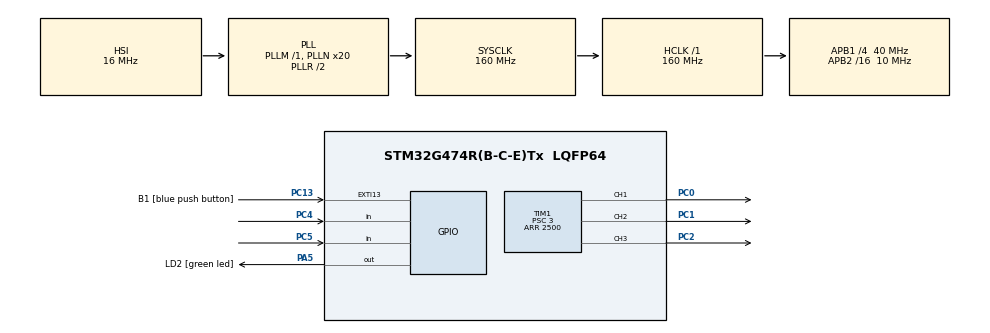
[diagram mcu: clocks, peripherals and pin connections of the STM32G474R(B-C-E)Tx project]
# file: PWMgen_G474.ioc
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Mcu.Family=STM32G4
Mcu.Name=STM32G474R(B-C-E)Tx
Mcu.Package=LQFP64
NVIC.EXTI15_10_IRQn=true\:0\:0\:false\:false\:true\:true\:true\:true
NVIC.PriorityGroup=NVIC_PRIORITYGROUP_4
NVIC.TIM1_UP_TIM16_IRQn=true\:1\:0\:true\:false\:true\:true\:true\:true
NVIC.TIM2_IRQn=true\:1\:0\:true\:false\:true\:true\:true\:true
NVIC.TIM5_IRQn=true\:0\:0\:false\:false\:true\:true\:true\:true
NVIC.TIM7_DAC_IRQn=true\:1\:0\:true\:false\:true\:true\:true\:true
PA13.GPIO_Label=T_SWDIO
PA13.Signal=SYS_JTMS-SWDIO
PA14.GPIO_Label=T_SWCLK
PA14.Signal=SYS_JTCK-SWCLK
PA2.GPIO_Label=LPUART1_TX [STLINKV3E_VCP_RX]
PA2.Signal=LPUART1_TX
PA3.GPIO_Label=LPUART1_RX [STLINKV3E_VCP_TX]
PA3.Signal=LPUART1_RX
PA5.GPIO_Label=LD2 [green led]
PA5.Signal=GPIO_Output
PB3.GPIO_Label=T_SWO
PB3.Signal=SYS_JTDO-SWO
PC0.Signal=S_TIM1_CH1
PC1.Signal=S_TIM1_CH2
PC13.GPIO_Label=B1 [blue push button]
PC13.Signal=GPXTI13
PC14-OSC32_IN.GPIO_Label=RCC_OSC32_IN
PC14-OSC32_IN.Mode=LSE-External-Oscillator
PC14-OSC32_IN.Signal=RCC_OSC32_IN
PC15-OSC32_OUT.GPIO_Label=RCC_OSC32_OUT
PC15-OSC32_OUT.Mode=LSE-External-Oscillator
PC15-OSC32_OUT.Signal=RCC_OSC32_OUT
PC2.Signal=S_TIM1_CH3
PC4.GPIO_PuPd=GPIO_PULLUP
PC4.Signal=GPIO_Input
PC5.GPIO_PuPd=GPIO_PULLUP
PC5.Signal=GPIO_Input
PF0-OSC_IN.GPIO_Label=RCC_OSC_IN
PF0-OSC_IN.Mode=HSE-External-Oscillator
PF0-OSC_IN.Signal=RCC_OSC_IN
PF1-OSC_OUT.GPIO_Label=RCC_OSC_OUT
PF1-OSC_OUT.Mode=HSE-External-Oscillator
PF1-OSC_OUT.Signal=RCC_OSC_OUT
ProjectManager.HeapSize=0x200
ProjectManager.StackSize=0x400
ProjectManager.TargetToolchain=STM32CubeIDE
RCC.ADC12Freq_Value=160000000
RCC.ADC345Freq_Value=160000000
RCC.AHBFreq_Value=160000000
RCC.APB1CLKDivider=RCC_HCLK_DIV4
RCC.APB1Freq_Value=40000000
RCC.APB1TimFreq_Value=80000000
RCC.APB2CLKDivider=RCC_HCLK_DIV16
RCC.APB2Freq_Value=10000000
RCC.APB2TimFreq_Value=20000000
RCC.CortexFreq_Value=160000000
RCC.EXTERNAL_CLOCK_VALUE=12288000
RCC.HCLKFreq_Value=160000000
RCC.HSE_VALUE=24000000
RCC.HSI48_VALUE=48000000
RCC.HSI_VALUE=16000000
RCC.PLLN=20
RCC.RTCClockSelection=RCC_RTCCLKSOURCE_LSE
RCC.SYSCLKFreq_VALUE=160000000
RCC.SYSCLKSource=RCC_SYSCLKSOURCE_PLLCLK
RCC.USBFreq_Value=160000000
RCC.VCOOutputFreq_Value=320000000
SH.S_TIM1_CH1.0=TIM1_CH1,PWM Generation1 CH1
SH.S_TIM1_CH2.0=TIM1_CH2,PWM Generation2 CH2
SH.S_TIM1_CH3.0=TIM1_CH3,PWM Generation3 CH3
TIM1.Channel-PWM\ Generation1\ CH1=TIM_CHANNEL_1
TIM1.Channel-PWM\ Generation2\ CH2=TIM_CHANNEL_2
TIM1.Channel-PWM\ Generation3\ CH3=TIM_CHANNEL_3
TIM1.CounterMode=TIM_COUNTERMODE_CENTERALIGNED3
TIM1.PeriodNoDither=2500
TIM1.Prescaler=3
TIM2.PeriodNoDither=2500
TIM5.AutoReloadPreload=TIM_AUTORELOAD_PRELOAD_ENABLE
TIM5.PeriodNoDither=2500
TIM7.PeriodNoDither=10000
VP_SYS_VS_DBSignals.Mode=DisableDeadBatterySignals
VP_TIM1_VS_ClockSourceINT.Mode=Internal
VP_TIM2_VS_ClockSourceINT.Mode=Internal
VP_TIM5_VS_ClockSourceINT.Mode=Internal
VP_TIM7_VS_ClockSourceINT.Mode=Enable_Timer
board=NUCLEO-G474RE

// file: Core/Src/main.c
/* USER CODE BEGIN Header */
/**
  ******************************************************************************
  * @file           : main.c
  * @brief          : Main program body
  ******************************************************************************
  * @attention
  *
  * Copyright (c) 2026 STMicroelectronics.
  * All rights reserved.
  *
  * This software is licensed under terms that can be found in the LICENSE file
  * in the root directory of this software component.
  * If no LICENSE file comes with this software, it is provided AS-IS.
  *
  ******************************************************************************
  */
/* USER CODE END Header */
#include "main.h"

/* USER CODE BEGIN Includes */
#include <stdlib.h>
#include "lut.h"
/* USER CODE END Includes */

/* USER CODE BEGIN PTD */
enum pulse_type{
	Async,
	SyncMp,
	S3p,
	W3p,
	CHM,
	SHE,
	SAMI,
	HO
};
enum async_type{
	PWM,
	RPPWM,
	SSPWM,
	THI,
	THI_RP,
	THI_SS
};
/* USER CODE END PTD */

/* USER CODE BEGIN PD */
#define PER 25000.0f
/* USER CODE END PD */

TIM_HandleTypeDef htim1;
TIM_HandleTypeDef htim2;
TIM_HandleTypeDef htim5;
TIM_HandleTypeDef htim7;

/* USER CODE BEGIN PV */
uint32_t alpha_sort[3][90];
uint32_t alpha_est[3][90];
uint32_t alpha_cur[3][90];
int randnum;
int rand_est;
int alpha_num = 7;
int alpha_num_cur = 7;
int alpha_num_temp = 7;
float ratio = 0.0;
float AMP;
float OFFSET;
float dutyu;
float dutyv;
float dutyw;
float dutyun;
float dutyvn;
float dutywn;
float Asdutyu;
float Asdutyv;
float Asdutyw;
int dir;
int motorState = 0;
int ampINT = 0;
int transit = 0;//Async->0 PP-PWM->1 Sync->2
int tran_tim5 = 0;
float frq;
float basfrq = 1;
float basfrq_Jerk = 0.0;
int JerkPole;
int tca_cnt = 0;
int tcb_cnt = 0;
int tcb2_cnt = 0;
int pulse_mode;
int async_mode = 0;
int cur_pnum_PWM = 33;
int pnum_PWM;
int pnum_temp;
int THI_alpha = 2;
float THI_beta = 0.4;
int cnt_THI;
float sgn_THI = 1;
float PER_PWM;
float spectrum[2] = {1,200};
/* USER CODE END PV */

void SystemClock_Config(void);
static void MX_GPIO_Init(void);
static void MX_TIM1_Init(void);
static void MX_TIM2_Init(void);
static void MX_TIM7_Init(void);
static void MX_TIM5_Init(void);
/* USER CODE BEGIN PFP */

float min(float a, float b);
float max(float a, float b);
void modulation_acc(float a);
void modulation_dec(float a);
void swap (uint32_t *x, uint32_t *y);
void shell_sort (void);
void makePER(const int alpha[][alpha_num], const int pole[], int amp);

/* USER CODE END PFP */

/* USER CODE BEGIN 0 */
void HAL_TIM_PeriodElapsedCallback(TIM_HandleTypeDef *htim){
    if(htim == &htim1){
    	if(transit == 0){
    		if(async_mode == 5){
    			randnum = 255;
    			PER_PWM = 2500000 / (frq+spectrum[rand_est%2]);
    			cnt_THI ++;
    			cnt_THI %= THI_alpha;
    			if(cnt_THI == 0){sgn_THI *= -1;}
    			dutyu = Asdutyu * (AMP + sgn_THI * THI_beta*basfrq_Jerk/basfrq) / 32767 + OFFSET;
    			dutyv = Asdutyv * (AMP + sgn_THI * THI_beta*basfrq_Jerk/basfrq) / 32767 + OFFSET;
    			dutyw = Asdutyw * (AMP + sgn_THI * THI_beta*basfrq_Jerk/basfrq) / 32767 + OFFSET;
    		}
    		else if(async_mode == 4){
    			PER_PWM = 2500000 / (frq + rand_est);
    			cnt_THI ++;
    			cnt_THI %= THI_alpha;
    			if(cnt_THI == 0){sgn_THI *= -1;}
    			dutyu = Asdutyu * (AMP + sgn_THI * THI_beta*basfrq_Jerk/basfrq) / 32767 + OFFSET;
    			dutyv = Asdutyv * (AMP + sgn_THI * THI_beta*basfrq_Jerk/basfrq) / 32767 + OFFSET;
    			dutyw = Asdutyw * (AMP + sgn_THI * THI_beta*basfrq_Jerk/basfrq) / 32767 + OFFSET;
    		}
    		else if(async_mode == 3){
    			PER_PWM = 2500000 / frq;
    			cnt_THI ++;
    			cnt_THI %= THI_alpha;
    			if(cnt_THI == 0){sgn_THI *= -1;}
    			dutyu = Asdutyu * (AMP + sgn_THI * THI_beta*basfrq_Jerk/basfrq) / 32767 + OFFSET;
    			dutyv = Asdutyv * (AMP + sgn_THI * THI_beta*basfrq_Jerk/basfrq) / 32767 + OFFSET;
    			dutyw = Asdutyw * (AMP + sgn_THI * THI_beta*basfrq_Jerk/basfrq) / 32767 + OFFSET;
    		}
    		else if(async_mode == 2){
    			randnum = 255;
    			PER_PWM = 2500000 / (frq+spectrum[rand_est%2]);
    			dutyu = Asdutyu * AMP / 32767 + OFFSET;
    			dutyv = Asdutyv * AMP / 32767 + OFFSET;
    			dutyw = Asdutyw * AMP / 32767 + OFFSET;
    		}
    		else if(async_mode == 1){
    			PER_PWM = 2500000 / (frq + rand_est);
    			dutyu = Asdutyu * AMP / 32767 + OFFSET;
    			dutyv = Asdutyv * AMP / 32767 + OFFSET;
    			dutyw = Asdutyw * AMP / 32767 + OFFSET;
    		}
    		else{
    			PER_PWM = 2500000 / frq;
    			dutyu = Asdutyu * AMP / 32767 + OFFSET;
    			dutyv = Asdutyv * AMP / 32767 + OFFSET;
    			dutyw = Asdutyw * AMP / 32767 + OFFSET;
    		}
    	}
    	else if(transit == 2){
    		PER_PWM = 2500000 / (basfrq*cur_pnum_PWM);
    		pnum_temp = (cur_pnum_PWM*2)/3;
    		if(TIM1->CNT > (uint16_t)(PER_PWM/2)){
    			dutyu = SYNC[(cur_pnum_PWM-3)/6 - 1][tca_cnt%(cur_pnum_PWM*2)] * AMP / 32767 + OFFSET;
    		    dutyv = SYNC[(cur_pnum_PWM-3)/6 - 1][(tca_cnt+pnum_temp*2)%(cur_pnum_PWM*2)] * AMP / 32767 + OFFSET;
    		    dutyw = SYNC[(cur_pnum_PWM-3)/6 - 1][(tca_cnt+pnum_temp)%(cur_pnum_PWM*2)] * AMP / 32767 + OFFSET;
    		    tca_cnt++;
    		    if(tca_cnt == 2){
    		    	if(pulse_mode == 0 && transit == 2){
    		    		transit = 0;
    		        	tcb2_cnt = 0;
    		    	}
    		        else if(pulse_mode >= 2 && transit == 2){
    		        	HAL_TIM_PWM_Stop(&htim1, TIM_CHANNEL_1);
    		        	HAL_TIM_PWM_Stop(&htim1, TIM_CHANNEL_2);
    		        	HAL_TIM_PWM_Stop(&htim1, TIM_CHANNEL_3);
    		        	GPIO_InitTypeDef GPIO_InitStruct;
    		        	GPIO_InitStruct.Pin = GPIO_PIN_0 | GPIO_PIN_1 | GPIO_PIN_2;
    		        	GPIO_InitStruct.Mode = GPIO_MODE_OUTPUT_PP;
    		        	GPIO_InitStruct.Pull = GPIO_NOPULL;
    		        	GPIO_InitStruct.Speed = GPIO_SPEED_FREQ_HIGH;
    		        	HAL_GPIO_Init(GPIOC, &GPIO_InitStruct);
    		        	transit = 1;
    		        	tcb_cnt = 0;
    		        	tran_tim5 = 0;
    		        }
    		    }
    		    if(tca_cnt >= (cur_pnum_PWM*2)){
    		    	tca_cnt = 0;
    		    	cur_pnum_PWM = pnum_PWM;
    		    }
    		}
    		else{
    			dutyu = SYNC[(cur_pnum_PWM-3)/6 - 1][tca_cnt%(cur_pnum_PWM*2)] * AMP / 32767 + OFFSET;
    		    dutyv = SYNC[(cur_pnum_PWM-3)/6 - 1][(tca_cnt+pnum_temp*2)%(cur_pnum_PWM*2)] * AMP / 32767 + OFFSET;
    		    dutyw = SYNC[(cur_pnum_PWM-3)/6 - 1][(tca_cnt+pnum_temp)%(cur_pnum_PWM*2)] * AMP / 32767 + OFFSET;
    		    tca_cnt++;
    		}
    	}
    	TIM1->ARR = (uint16_t)PER_PWM;
    	TIM1->CCR1 = (uint16_t)(PER_PWM*dutyu);
    	TIM1->CCR2 = (uint16_t)(PER_PWM*dutyv);
    	TIM1->CCR3 = (uint16_t)(PER_PWM*dutyw);
    }
    if(htim == &htim5){
    	TIM5->CR1 &= ~TIM_CR1_CEN;
    	TIM5->CNT = 0;
    	if(tcb_cnt == 0){
    		if(pulse_mode == 0 && transit == 1){
    			GPIO_InitTypeDef GPIO_InitStruct;
    			GPIO_InitStruct.Pin = GPIO_PIN_0 | GPIO_PIN_1 | GPIO_PIN_2;
    			GPIO_InitStruct.Mode = GPIO_MODE_AF_PP;
    			GPIO_InitStruct.Pull = GPIO_NOPULL;
    			GPIO_InitStruct.Speed = GPIO_SPEED_FREQ_HIGH;
    			GPIO_InitStruct.Alternate = GPIO_AF2_TIM1;
    			HAL_GPIO_Init(GPIOC, &GPIO_InitStruct);
    			tcb2_cnt = 4;
    			HAL_TIM_PWM_Start(&htim1, TIM_CHANNEL_1);
    			HAL_TIM_PWM_Start(&htim1, TIM_CHANNEL_2);
    			HAL_TIM_PWM_Start(&htim1, TIM_CHANNEL_3);
    			transit = 0;

    		}
    		else if(pulse_mode == 1 && transit == 1){
    			GPIO_InitTypeDef GPIO_InitStruct;
    			GPIO_InitStruct.Pin = GPIO_PIN_0 | GPIO_PIN_1 | GPIO_PIN_2;
    			GPIO_InitStruct.Mode = GPIO_MODE_AF_PP;
    			GPIO_InitStruct.Pull = GPIO_NOPULL;
    			GPIO_InitStruct.Speed = GPIO_SPEED_FREQ_HIGH;
    			GPIO_InitStruct.Alternate = GPIO_AF2_TIM1;
    			HAL_GPIO_Init(GPIOC, &GPIO_InitStruct);
    			tca_cnt = 2;
    			HAL_TIM_PWM_Start(&htim1, TIM_CHANNEL_1);
    			HAL_TIM_PWM_Start(&htim1, TIM_CHANNEL_2);
    			HAL_TIM_PWM_Start(&htim1, TIM_CHANNEL_3);
    			transit = 2;
			}
    		if(alpha_num_temp == alpha_num){
				alpha_num_cur = alpha_num;
    			for(int i = 0; i < alpha_num_cur*12+6; i++){
    				alpha_cur[0][i] = alpha_est[0][i];
    			    alpha_cur[1][i] = alpha_est[1][i];
    			    alpha_cur[2][i] = alpha_est[2][i];
    			}
    		}
    		HAL_GPIO_WritePin(GPIOC, GPIO_PIN_1, GPIO_PIN_SET);
    		HAL_GPIO_WritePin(GPIOC, GPIO_PIN_2, GPIO_PIN_RESET);
    	}
    	GPIOC->BSRR = (1U << (alpha_cur[2][tcb_cnt] + 16*(1-alpha_cur[1][tcb_cnt])));
    	if(tcb_cnt < alpha_num_cur*12+5){
    		TIM5->ARR = (uint32_t)(alpha_cur[0][tcb_cnt+1]*800 / basfrq);
    	}
    	else{
			alpha_num_temp = alpha_num;
    		for(int i = 0; i < alpha_num*12+6; i++){
    			alpha_cur[0][i] = alpha_est[0][i];
    			alpha_cur[1][i] = alpha_est[1][i];
    		    alpha_cur[2][i] = alpha_est[2][i];
    		}
    		TIM5->ARR = (uint32_t)(alpha_cur[0][0]*800 / basfrq);
    	}
    	tcb_cnt += 1;
    	if(tran_tim5 == 0){
			alpha_num_cur = alpha_num;
			for(int i = 0; i < alpha_num_cur*12+6; i++){
    			alpha_cur[0][i] = alpha_est[0][i];
    		    alpha_cur[1][i] = alpha_est[1][i];
    		    alpha_cur[2][i] = alpha_est[2][i];
    		}
    		TIM5->ARR = (uint32_t)(alpha_cur[0][0]*800 / basfrq);
    		tcb_cnt = 0;
    		tran_tim5 = 1;
    	}
    	if(tcb_cnt > alpha_num_cur*12+6 - 1){tcb_cnt = 0;}
    	TIM5->CR1 |= TIM_CR1_CEN;
    }
    if(htim == &htim2){
    	if(tcb2_cnt == 0){
    		if(pulse_mode >= 2 && transit == 0){
    			HAL_TIM_PWM_Stop(&htim1, TIM_CHANNEL_1);
    			HAL_TIM_PWM_Stop(&htim1, TIM_CHANNEL_2);
    			HAL_TIM_PWM_Stop(&htim1, TIM_CHANNEL_3);
    			GPIO_InitTypeDef GPIO_InitStruct;
    			GPIO_InitStruct.Pin = GPIO_PIN_0 | GPIO_PIN_1 | GPIO_PIN_2;
    			GPIO_InitStruct.Mode = GPIO_MODE_OUTPUT_PP;
    			GPIO_InitStruct.Pull = GPIO_NOPULL;
    			GPIO_InitStruct.Speed = GPIO_SPEED_FREQ_HIGH;
    			HAL_GPIO_Init(GPIOC, &GPIO_InitStruct);
    			transit = 1;
    			tcb_cnt = 0;
    			tran_tim5 = 0;
    		}
    		else if(pulse_mode == 1 && transit == 0){
    			transit = 2;
    			tca_cnt = 0;
    		}
    	}
    	TIM2->ARR = (uint32_t)(303030.30303 * 4 / basfrq);
    	if(pulse_mode == 0 || transit == 0){
    		Asdutyu = SYNC[4][tcb2_cnt%66];
    		Asdutyv = SYNC[4][(tcb2_cnt+44)%66];
    		Asdutyw = SYNC[4][(tcb2_cnt+22)%66];
    	}
    	tcb2_cnt++;
    	tcb2_cnt %= 66;
    }
    if(htim == &htim7){
    	basfrq += (0.0005 * dir);
    	if(JerkPole != 0){basfrq_Jerk += (0.0002*JerkPole*basfrq);}
    	rand_est = rand() % randnum;
    }
}
/* USER CODE END 0 */

int main(void)
{

  /* MCU Configuration--------------------------------------------------------*/

  /* Reset of all peripherals, Initializes the Flash interface and the Systick. */
  HAL_Init();

  /* Configure the system clock */
  SystemClock_Config();

  /* Initialize all configured peripherals */
  MX_GPIO_Init();
  MX_TIM1_Init();
  MX_TIM2_Init();
  MX_TIM7_Init();
  MX_TIM5_Init();
  /* USER CODE BEGIN 2 */
  makePER(_7alpha, _7alpha_pole, ampINT);
  HAL_TIM_Base_Start_IT(&htim1);
  HAL_TIM_Base_Start_IT(&htim2);
  HAL_TIM_Base_Start_IT(&htim5);
  HAL_TIM_Base_Start_IT(&htim7);
  HAL_TIM_PWM_Start(&htim1, TIM_CHANNEL_1);
  HAL_TIM_PWM_Start(&htim1, TIM_CHANNEL_2);
  HAL_TIM_PWM_Start(&htim1, TIM_CHANNEL_3);

  pulse_mode = Async;
  frq = 525;
  basfrq = 0.1;
  AMP = min(max(basfrq * 0.0103, 0), 1);
  OFFSET = min(max(0.5 - basfrq * 0.00515, 0), 0.5);
  /* USER CODE END 2 */

  /* Infinite loop */
  /* USER CODE BEGIN WHILE */
  while (1)
  {
	  //if(TIM5->CNT > TIM5->ARR){TIM5->CNT = 0;}
	  if(basfrq < 0.1){basfrq = 0.1;}
	  if ((GPIOC->IDR & GPIO_PIN_4) == 0){
		  //acceleration setting
		  motorState = 1;
		  if(basfrq_Jerk < basfrq){
			  JerkPole = 1;
			  modulation_acc(basfrq_Jerk);
		  }
		  else{
			  dir = 1;
			  JerkPole = 0;
			  modulation_acc(basfrq);
			  basfrq_Jerk = basfrq + 0.1;
		  }
	  }
	  else if ((GPIOC->IDR & GPIO_PIN_5) == 0){
		  motorState = -1;
		  if(basfrq_Jerk < basfrq){
			  JerkPole = 1;
			  modulation_dec(basfrq_Jerk);
		  }
		  else{
			  dir = -1;
			  JerkPole = 0;
			  basfrq_Jerk = basfrq;
			  modulation_dec(basfrq);
		  }
	  }
	  else{
		  dir = 0;
		  if(basfrq_Jerk > 0 && motorState == 1){
			  JerkPole = -1;
			  modulation_acc(basfrq_Jerk);
		  }
		  else if(basfrq_Jerk > 0 && motorState == -1){
			  JerkPole = -1;
			  modulation_dec(basfrq_Jerk);
		  }
		  else{
			  JerkPole = 0;
			  basfrq_Jerk = 0;
			  motorState = 0;
		  }
	  }

	  if(motorState == 1){
		  if(basfrq >= 80 && dir == 1){pulse_mode = CHM;alpha_num = 0;}
		  else if(basfrq >= 59){pulse_mode = CHM;alpha_num = 1;}
		  else if(basfrq >= 57){pulse_mode = CHM;alpha_num = 2;}
		  else if(basfrq >= 43.5){pulse_mode = CHM;alpha_num = 3;}
		  else if(basfrq >= 36.7){pulse_mode = CHM;alpha_num = 4;}
		  else if(basfrq >= 30){pulse_mode = CHM;alpha_num = 5;}
		  else if(basfrq >= 27){pulse_mode = CHM;alpha_num = 6;}
		  else if(basfrq >= 24){pulse_mode = CHM;alpha_num = 7;}
		  else if(basfrq >= 5.6){pulse_mode = Async;frq = 400;}
		  else if(basfrq >= 5.0){pulse_mode = Async;frq = 350;}
		  else if(basfrq >= 4.3){pulse_mode = Async;frq = 311;}
		  else if(basfrq >= 3.4){pulse_mode = Async;frq = 294;}
		  else if(basfrq >= 2.7){pulse_mode = Async;frq = 262;}
		  else if(basfrq >= 2.0){pulse_mode = Async;frq = 233;}
		  else if(basfrq >= 1.5){pulse_mode = Async;frq = 223;}
		  else if(basfrq >= 0.5){pulse_mode = Async;frq = 196;}
		  else if(basfrq >= 0){pulse_mode = Async;frq = 175;}
	  	}

	  	else if(motorState == -1){
	  		if(basfrq >= 80 && dir == -1){pulse_mode = CHM;alpha_num = 0;}
	  		else if(basfrq >= 70.7){pulse_mode = CHM;alpha_num = 1;}
	  		else if(basfrq >= 63){pulse_mode = CHM;alpha_num = 2;}
	  		else if(basfrq >= 41){pulse_mode = CHM;alpha_num = 3;}
	  		else if(basfrq >= 34.5){pulse_mode = CHM;alpha_num = 4;}
	  		else if(basfrq >= 29){pulse_mode = CHM;alpha_num = 5;}
	  		else if(basfrq >= 25){pulse_mode = CHM;alpha_num = 6;}
	  		else if(basfrq >= 22.5){pulse_mode = CHM;alpha_num = 7;}
	  		else if(basfrq >= 0){pulse_mode = Async;frq = 400;}
	  	}

	  	if(alpha_num == 7 && pulse_mode == 4){ampINT = (uint16_t)ratio; makePER(_7alpha, _7alpha_pole, ampINT);}
	  	else if(alpha_num == 6 && pulse_mode == 4){ampINT = (uint16_t)ratio; makePER(_6alpha, _6alpha_pole, ampINT);}
	  	else if(alpha_num == 5 && pulse_mode == 4){ampINT = (uint16_t)ratio; makePER(_5alpha, _5alpha_pole, ampINT);}
	  	else if(alpha_num == 4 && pulse_mode == 4){ampINT = (uint16_t)ratio; makePER(_4alpha, _4alpha_pole, ampINT);}
	  	else if(alpha_num == 3 && pulse_mode == 4){ampINT = (uint16_t)ratio; makePER(_3alpha, _3alpha_pole, ampINT);}
	  	else if(alpha_num == 2 && pulse_mode == 4){ampINT = (uint16_t)ratio; makePER(_2alpha, _2alpha_pole, ampINT);}
	  	else if(alpha_num == 1 && pulse_mode == 4){ampINT = (uint16_t)ratio; makePER(_1alpha, _1alpha_pole, ampINT);}
	  	else if(alpha_num == 0 && pulse_mode == 4){ampINT = (uint16_t)ratio; makePER(_1alpha, _1alpha_pole, 100);}
	  	else if(pulse_mode == 2){alpha_num = 1;ampINT = (uint16_t)ratio; makePER(S3P, S3P_pole, ampINT);}
	  	else if(pulse_mode == 3){alpha_num = 1;ampINT = (uint16_t)ratio; makePER(W3P, W3P_pole, ampINT);}
	  	else if(alpha_num == 5 && pulse_mode == 5){ampINT = (uint16_t)ratio; makePER(SHE11, W3P_pole, ampINT);}
	  	else if(alpha_num == 3 && pulse_mode == 5){ampINT = (uint16_t)ratio; makePER(SHE7, W3P_pole, ampINT);}
	  	else if(alpha_num == 2 && pulse_mode == 5){ampINT = (uint16_t)ratio; makePER(SHE5, S3P_pole, ampINT);}
	  	else if(alpha_num == 5 && pulse_mode == 6){ampINT = (uint16_t)ratio; makePER(SAMI11, S3P_pole, ampINT);}
	  	else if(alpha_num == 3 && pulse_mode == 6){ampINT = (uint16_t)ratio; makePER(SAMI7, S3P_pole, ampINT);}
	  	else if(alpha_num == 2 && pulse_mode == 6){ampINT = (uint16_t)ratio; makePER(SAMI5, S3P_pole, ampINT);}
    /* USER CODE END WHILE */

  }
}

void SystemClock_Config(void)
{
  RCC_OscInitTypeDef RCC_OscInitStruct = {0};
  RCC_ClkInitTypeDef RCC_ClkInitStruct = {0};

  /** Configure the main internal regulator output voltage
  */
  HAL_PWREx_ControlVoltageScaling(PWR_REGULATOR_VOLTAGE_SCALE1_BOOST);

  /** Initializes the RCC Oscillators according to the specified parameters
  * in the RCC_OscInitTypeDef structure.
  */
  RCC_OscInitStruct.OscillatorType = RCC_OSCILLATORTYPE_HSI;
  RCC_OscInitStruct.HSIState = RCC_HSI_ON;
  RCC_OscInitStruct.HSICalibrationValue = RCC_HSICALIBRATION_DEFAULT;
  RCC_OscInitStruct.PLL.PLLState = RCC_PLL_ON;
  RCC_OscInitStruct.PLL.PLLSource = RCC_PLLSOURCE_HSI;
  RCC_OscInitStruct.PLL.PLLM = RCC_PLLM_DIV1;
  RCC_OscInitStruct.PLL.PLLN = 20;
  RCC_OscInitStruct.PLL.PLLP = RCC_PLLP_DIV2;
  RCC_OscInitStruct.PLL.PLLQ = RCC_PLLQ_DIV2;
  RCC_OscInitStruct.PLL.PLLR = RCC_PLLR_DIV2;
  if (HAL_RCC_OscConfig(&RCC_OscInitStruct) != HAL_OK)
  {
    Error_Handler();
  }

  /** Initializes the CPU, AHB and APB buses clocks
  */
  RCC_ClkInitStruct.ClockType = RCC_CLOCKTYPE_HCLK|RCC_CLOCKTYPE_SYSCLK
                              |RCC_CLOCKTYPE_PCLK1|RCC_CLOCKTYPE_PCLK2;
  RCC_ClkInitStruct.SYSCLKSource = RCC_SYSCLKSOURCE_PLLCLK;
  RCC_ClkInitStruct.AHBCLKDivider = RCC_SYSCLK_DIV1;
  RCC_ClkInitStruct.APB1CLKDivider = RCC_HCLK_DIV4;
  RCC_ClkInitStruct.APB2CLKDivider = RCC_HCLK_DIV16;

  if (HAL_RCC_ClockConfig(&RCC_ClkInitStruct, FLASH_LATENCY_4) != HAL_OK)
  {
    Error_Handler();
  }
}

static void MX_TIM1_Init(void)
{

  TIM_ClockConfigTypeDef sClockSourceConfig = {0};
  TIM_MasterConfigTypeDef sMasterConfig = {0};
  TIM_OC_InitTypeDef sConfigOC = {0};
  TIM_BreakDeadTimeConfigTypeDef sBreakDeadTimeConfig = {0};

  htim1.Instance = TIM1;
  htim1.Init.Prescaler = 3;
  htim1.Init.CounterMode = TIM_COUNTERMODE_CENTERALIGNED3;
  htim1.Init.Period = 2500;
  htim1.Init.ClockDivision = TIM_CLOCKDIVISION_DIV1;
  htim1.Init.RepetitionCounter = 0;
  htim1.Init.AutoReloadPreload = TIM_AUTORELOAD_PRELOAD_DISABLE;
  if (HAL_TIM_Base_Init(&htim1) != HAL_OK)
  {
    Error_Handler();
  }
  sClockSourceConfig.ClockSource = TIM_CLOCKSOURCE_INTERNAL;
  if (HAL_TIM_ConfigClockSource(&htim1, &sClockSourceConfig) != HAL_OK)
  {
    Error_Handler();
  }
  if (HAL_TIM_PWM_Init(&htim1) != HAL_OK)
  {
    Error_Handler();
  }
  sMasterConfig.MasterOutputTrigger = TIM_TRGO_RESET;
  sMasterConfig.MasterOutputTrigger2 = TIM_TRGO2_RESET;
  sMasterConfig.MasterSlaveMode = TIM_MASTERSLAVEMODE_DISABLE;
  if (HAL_TIMEx_MasterConfigSynchronization(&htim1, &sMasterConfig) != HAL_OK)
  {
    Error_Handler();
  }
  sConfigOC.OCMode = TIM_OCMODE_PWM1;
  sConfigOC.Pulse = 0;
  sConfigOC.OCPolarity = TIM_OCPOLARITY_HIGH;
  sConfigOC.OCNPolarity = TIM_OCNPOLARITY_HIGH;
  sConfigOC.OCFastMode = TIM_OCFAST_DISABLE;
  sConfigOC.OCIdleState = TIM_OCIDLESTATE_RESET;
  sConfigOC.OCNIdleState = TIM_OCNIDLESTATE_RESET;
  if (HAL_TIM_PWM_ConfigChannel(&htim1, &sConfigOC, TIM_CHANNEL_1) != HAL_OK)
  {
    Error_Handler();
  }
  if (HAL_TIM_PWM_ConfigChannel(&htim1, &sConfigOC, TIM_CHANNEL_2) != HAL_OK)
  {
    Error_Handler();
  }
  if (HAL_TIM_PWM_ConfigChannel(&htim1, &sConfigOC, TIM_CHANNEL_3) != HAL_OK)
  {
    Error_Handler();
  }
  sBreakDeadTimeConfig.OffStateRunMode = TIM_OSSR_DISABLE;
  sBreakDeadTimeConfig.OffStateIDLEMode = TIM_OSSI_DISABLE;
  sBreakDeadTimeConfig.LockLevel = TIM_LOCKLEVEL_OFF;
  sBreakDeadTimeConfig.DeadTime = 0;
  sBreakDeadTimeConfig.BreakState = TIM_BREAK_DISABLE;
  sBreakDeadTimeConfig.BreakPolarity = TIM_BREAKPOLARITY_HIGH;
  sBreakDeadTimeConfig.BreakFilter = 0;
  sBreakDeadTimeConfig.BreakAFMode = TIM_BREAK_AFMODE_INPUT;
  sBreakDeadTimeConfig.Break2State = TIM_BREAK2_DISABLE;
  sBreakDeadTimeConfig.Break2Polarity = TIM_BREAK2POLARITY_HIGH;
  sBreakDeadTimeConfig.Break2Filter = 0;
  sBreakDeadTimeConfig.Break2AFMode = TIM_BREAK_AFMODE_INPUT;
  sBreakDeadTimeConfig.AutomaticOutput = TIM_AUTOMATICOUTPUT_DISABLE;
  if (HAL_TIMEx_ConfigBreakDeadTime(&htim1, &sBreakDeadTimeConfig) != HAL_OK)
  {
    Error_Handler();
  }
  HAL_TIM_MspPostInit(&htim1);

}

static void MX_TIM2_Init(void)
{

  TIM_ClockConfigTypeDef sClockSourceConfig = {0};
  TIM_MasterConfigTypeDef sMasterConfig = {0};

  htim2.Instance = TIM2;
  htim2.Init.Prescaler = 0;
  htim2.Init.CounterMode = TIM_COUNTERMODE_UP;
  htim2.Init.Period = 2500;
  htim2.Init.ClockDivision = TIM_CLOCKDIVISION_DIV1;
  htim2.Init.AutoReloadPreload = TIM_AUTORELOAD_PRELOAD_DISABLE;
  if (HAL_TIM_Base_Init(&htim2) != HAL_OK)
  {
    Error_Handler();
  }
  sClockSourceConfig.ClockSource = TIM_CLOCKSOURCE_INTERNAL;
  if (HAL_TIM_ConfigClockSource(&htim2, &sClockSourceConfig) != HAL_OK)
  {
    Error_Handler();
  }
  sMasterConfig.MasterOutputTrigger = TIM_TRGO_RESET;
  sMasterConfig.MasterSlaveMode = TIM_MASTERSLAVEMODE_DISABLE;
  if (HAL_TIMEx_MasterConfigSynchronization(&htim2, &sMasterConfig) != HAL_OK)
  {
    Error_Handler();
  }

}

static void MX_TIM5_Init(void)
{

  TIM_ClockConfigTypeDef sClockSourceConfig = {0};
  TIM_MasterConfigTypeDef sMasterConfig = {0};

  htim5.Instance = TIM5;
  htim5.Init.Prescaler = 0;
  htim5.Init.CounterMode = TIM_COUNTERMODE_UP;
  htim5.Init.Period = 2500;
  htim5.Init.ClockDivision = TIM_CLOCKDIVISION_DIV1;
  htim5.Init.AutoReloadPreload = TIM_AUTORELOAD_PRELOAD_ENABLE;
  if (HAL_TIM_Base_Init(&htim5) != HAL_OK)
  {
    Error_Handler();
  }
  sClockSourceConfig.ClockSource = TIM_CLOCKSOURCE_INTERNAL;
  if (HAL_TIM_ConfigClockSource(&htim5, &sClockSourceConfig) != HAL_OK)
  {
    Error_Handler();
  }
  sMasterConfig.MasterOutputTrigger = TIM_TRGO_RESET;
  sMasterConfig.MasterSlaveMode = TIM_MASTERSLAVEMODE_DISABLE;
  if (HAL_TIMEx_MasterConfigSynchronization(&htim5, &sMasterConfig) != HAL_OK)
  {
    Error_Handler();
  }

}

static void MX_TIM7_Init(void)
{

  TIM_MasterConfigTypeDef sMasterConfig = {0};

  htim7.Instance = TIM7;
  htim7.Init.Prescaler = 0;
  htim7.Init.CounterMode = TIM_COUNTERMODE_UP;
  htim7.Init.Period = 10000;
  htim7.Init.AutoReloadPreload = TIM_AUTORELOAD_PRELOAD_DISABLE;
  if (HAL_TIM_Base_Init(&htim7) != HAL_OK)
  {
    Error_Handler();
  }
  sMasterConfig.MasterOutputTrigger = TIM_TRGO_RESET;
  sMasterConfig.MasterSlaveMode = TIM_MASTERSLAVEMODE_DISABLE;
  if (HAL_TIMEx_MasterConfigSynchronization(&htim7, &sMasterConfig) != HAL_OK)
  {
    Error_Handler();
  }

}

static void MX_GPIO_Init(void)
{
  GPIO_InitTypeDef GPIO_InitStruct = {0};

  /* GPIO Ports Clock Enable */
  __HAL_RCC_GPIOC_CLK_ENABLE();
  __HAL_RCC_GPIOF_CLK_ENABLE();
  __HAL_RCC_GPIOA_CLK_ENABLE();
  __HAL_RCC_GPIOB_CLK_ENABLE();

  /*Configure GPIO pin Output Level */
  HAL_GPIO_WritePin(LD2_GPIO_Port, LD2_Pin, GPIO_PIN_RESET);

  /*Configure GPIO pin : B1_Pin */
  GPIO_InitStruct.Pin = B1_Pin;
  GPIO_InitStruct.Mode = GPIO_MODE_IT_RISING;
  GPIO_InitStruct.Pull = GPIO_NOPULL;
  HAL_GPIO_Init(B1_GPIO_Port, &GPIO_InitStruct);

  /*Configure GPIO pins : LPUART1_TX_Pin LPUART1_RX_Pin */
  GPIO_InitStruct.Pin = LPUART1_TX_Pin|LPUART1_RX_Pin;
  GPIO_InitStruct.Mode = GPIO_MODE_AF_PP;
  GPIO_InitStruct.Pull = GPIO_NOPULL;
  GPIO_InitStruct.Speed = GPIO_SPEED_FREQ_LOW;
  GPIO_InitStruct.Alternate = GPIO_AF12_LPUART1;
  HAL_GPIO_Init(GPIOA, &GPIO_InitStruct);

  /*Configure GPIO pin : LD2_Pin */
  GPIO_InitStruct.Pin = LD2_Pin;
  GPIO_InitStruct.Mode = GPIO_MODE_OUTPUT_PP;
  GPIO_InitStruct.Pull = GPIO_NOPULL;
  GPIO_InitStruct.Speed = GPIO_SPEED_FREQ_LOW;
  HAL_GPIO_Init(LD2_GPIO_Port, &GPIO_InitStruct);

  /*Configure GPIO pins : PC4 PC5 */
  GPIO_InitStruct.Pin = GPIO_PIN_4|GPIO_PIN_5;
  GPIO_InitStruct.Mode = GPIO_MODE_INPUT;
  GPIO_InitStruct.Pull = GPIO_PULLUP;
  HAL_GPIO_Init(GPIOC, &GPIO_InitStruct);

  /* EXTI interrupt init*/
  HAL_NVIC_SetPriority(EXTI15_10_IRQn, 0, 0);
  HAL_NVIC_EnableIRQ(EXTI15_10_IRQn);

}

/* USER CODE BEGIN 4 */
float min(float a, float b){
    return (a < b) ? a : b;
}
float max(float a, float b) {
    return (a > b) ? a : b;
}

void swap (uint32_t *x, uint32_t *y){
	uint32_t temp;
	temp = *x;
	*x = *y;
	*y = temp;
}
void modulation_acc (float a){
	ratio = min(max(8.344262 * a, 4.172131 * basfrq), 502);
	AMP = min(max(a * 0.02375, basfrq * 0.011875), 1);
	OFFSET = min(max(0.5 - a * 0.011875, 0), 0.5 - basfrq * 0.0059375);
}
void modulation_dec (float a){
	ratio = min(max(a * 6.972603, 4.172131 * basfrq), 502);
	AMP = min(max(a * 0.017826, basfrq * 0.011875), 1);
	OFFSET = min(max(0.5 - a * 0.008913, 0), 0.5 - basfrq * 0.0059375);
}
void shell_sort (void){
	int i, j, h, array_size;
	array_size = alpha_num * 12 + 6;
	for(h = 1; h <= array_size/9; h = 3*h + 1);
	for( ; h > 0; h /= 3){
		for (i = h; i < array_size; i++){
			j = i;
			while((j > h - 1) && (alpha_sort[0][j-h] > alpha_sort[0][j])) {
				swap(&alpha_sort[0][j-h], &alpha_sort[0][j]);
				swap(&alpha_sort[1][j-h], &alpha_sort[1][j]);
				swap(&alpha_sort[2][j-h], &alpha_sort[2][j]);
				j -= h;
			}
		}
	}
}
void makePER(const int alpha[][alpha_num], const int pole[], int amp){
    int array_cnt = 0;
	int array_cnt_sus = 0;
	while(array_cnt < alpha_num){
		alpha_sort[0][array_cnt_sus] = (uint32_t)((alpha[amp][array_cnt]) * PER/36000) % (uint32_t)PER;
		alpha_sort[1][array_cnt_sus] = (pole[amp]+array_cnt_sus)%2;
		alpha_sort[2][array_cnt_sus] = 0;
		alpha_sort[0][array_cnt_sus+alpha_num*4] = (uint32_t)((12000 + alpha[amp][array_cnt])*PER/36000) % (uint32_t)PER;
		alpha_sort[1][array_cnt_sus+alpha_num*4] = (pole[amp]+array_cnt_sus)%2;
		alpha_sort[2][array_cnt_sus+alpha_num*4] = 1;
		alpha_sort[0][array_cnt_sus+alpha_num*8] = (uint32_t)((24000 + alpha[amp][array_cnt])*PER/36000) % (uint32_t)PER;
		alpha_sort[1][array_cnt_sus+alpha_num*8] = (pole[amp]+array_cnt_sus)%2;
		alpha_sort[2][array_cnt_sus+alpha_num*8] = 2;
		array_cnt++;
		array_cnt_sus++;
	}
	while(array_cnt > 0){
		array_cnt--;
		alpha_sort[0][array_cnt_sus] = (uint32_t)((18000 - alpha[amp][array_cnt]) * PER / 36000) % (uint32_t)PER;
		alpha_sort[1][array_cnt_sus] = (pole[amp]+array_cnt_sus)%2;
		alpha_sort[2][array_cnt_sus] = 0;
		alpha_sort[0][array_cnt_sus+alpha_num*4] = (uint32_t)((30000 - alpha[amp][array_cnt])*PER/36000) % (uint32_t)PER;
		alpha_sort[1][array_cnt_sus+alpha_num*4] = (pole[amp]+array_cnt_sus)%2;
		alpha_sort[2][array_cnt_sus+alpha_num*4] = 1;
		alpha_sort[0][array_cnt_sus+alpha_num*8] = (uint32_t)((42000 - alpha[amp][array_cnt])*PER/36000) % (uint32_t)PER;
		alpha_sort[1][array_cnt_sus+alpha_num*8] = (pole[amp]+array_cnt_sus)%2;
		alpha_sort[2][array_cnt_sus+alpha_num*8] = 2;
		array_cnt_sus++;
	}
	while(array_cnt < alpha_num){
		alpha_sort[0][array_cnt_sus] = (uint32_t)((18000 + alpha[amp][array_cnt]) * PER / 36000) % (uint32_t)PER;
		alpha_sort[1][array_cnt_sus] = (pole[amp]+array_cnt_sus+1)%2;
		alpha_sort[2][array_cnt_sus] = 0;
		alpha_sort[0][array_cnt_sus+alpha_num*4] = (uint32_t)((30000 + alpha[amp][array_cnt])*PER/36000) % (uint32_t)PER;
		alpha_sort[1][array_cnt_sus+alpha_num*4] = (pole[amp]+array_cnt_sus+1)%2;
		alpha_sort[2][array_cnt_sus+alpha_num*4] = 1;
		alpha_sort[0][array_cnt_sus+alpha_num*8] = (uint32_t)((42000 + alpha[amp][array_cnt])*PER/36000) % (uint32_t)PER;
		alpha_sort[1][array_cnt_sus+alpha_num*8] = (pole[amp]+array_cnt_sus+1)%2;
		alpha_sort[2][array_cnt_sus+alpha_num*8] = 2;
		array_cnt++;
		array_cnt_sus++;
	}
	while(array_cnt > 0){
		array_cnt--;
		alpha_sort[0][array_cnt_sus] = (uint32_t)((36000 - alpha[amp][array_cnt]) * PER / 36000) % (uint32_t)PER;
		alpha_sort[1][array_cnt_sus] = (pole[amp]+array_cnt_sus+1)%2;
		alpha_sort[2][array_cnt_sus] = 0;
		alpha_sort[0][array_cnt_sus+alpha_num*4] = (uint32_t)((48000 - alpha[amp][array_cnt])*PER/36000) % (uint32_t)PER;
		alpha_sort[1][array_cnt_sus+alpha_num*4] = (pole[amp]+array_cnt_sus+1)%2;
		alpha_sort[2][array_cnt_sus+alpha_num*4] = 1;
		alpha_sort[0][array_cnt_sus+alpha_num*8] = (uint32_t)((60000 - alpha[amp][array_cnt])*PER/36000) % (uint32_t)PER;
		alpha_sort[1][array_cnt_sus+alpha_num*8] = (pole[amp]+array_cnt_sus+1)%2;
		alpha_sort[2][array_cnt_sus+alpha_num*8] = 2;
		array_cnt_sus++;
	}
	alpha_sort[2][array_cnt_sus+alpha_num*8] = 0;
	alpha_sort[2][array_cnt_sus+alpha_num*8+3] = 0;
	alpha_sort[2][array_cnt_sus+alpha_num*8+1] = 1;
	alpha_sort[2][array_cnt_sus+alpha_num*8+4] = 1;
	alpha_sort[2][array_cnt_sus+alpha_num*8+2] = 2;
	alpha_sort[2][array_cnt_sus+alpha_num*8+5] = 2;
	for(int i=0; i<3; i++){
		alpha_sort[0][array_cnt_sus+alpha_num*8] = (uint32_t)(i * PER / 3) % (uint32_t)PER;
		alpha_sort[0][array_cnt_sus+alpha_num*8+3] = (uint32_t)((3 + i*2) * PER / 6) % (uint32_t)PER;
		alpha_sort[1][array_cnt_sus+alpha_num*8] = (pole[amp]+1)%2;
		alpha_sort[1][array_cnt_sus+alpha_num*8+3] = (pole[amp]+2)%2;
		array_cnt_sus++;
	}
	array_cnt = 0;
	shell_sort();
	for(int i = 0; i < alpha_num*12+6 - 1; i++){
		alpha_sort[0][i] = alpha_sort[0][i+1] - alpha_sort[0][i];
		if(alpha_sort[0][i] < 30){
			alpha_sort[0][i+1] -= (30 - alpha_sort[0][i]);
			alpha_sort[0][i] = 30;
		}
	}
	alpha_sort[0][alpha_num*12+6 - 1] = (uint32_t)PER - alpha_sort[0][alpha_num*12+6 - 1];
	if(alpha_sort[0][alpha_num*12+6 - 1] < 30){
		alpha_sort[0][0] -= (30 - alpha_sort[0][alpha_num*12+6 - 1]);
		alpha_sort[0][alpha_num*12+6 - 1] = 30;
	}
	for(int i = 0; i < alpha_num*12+6; i++){
		alpha_est[0][i] = alpha_sort[0][i]*4;
		alpha_est[1][i] = alpha_sort[1][i];
		alpha_est[2][i] = alpha_sort[2][i];
	}
}
/* USER CODE END 4 */

void Error_Handler(void)
{
  __disable_irq();
  while (1)
  {
  }
}
